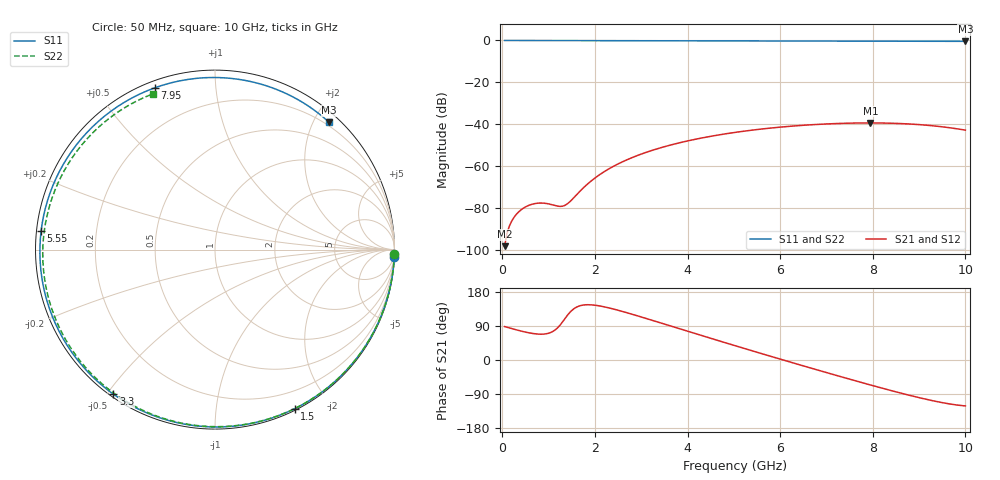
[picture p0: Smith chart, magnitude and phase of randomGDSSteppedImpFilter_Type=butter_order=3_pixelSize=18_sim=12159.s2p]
! freq	dB(S11)	phase(S11)	dB(S12)	phase(S12)
!  dB(S21)	phase(S21)	dB(S22)	phase(S22)
!S-par simulation data
#  GHz  S  DB  R 50
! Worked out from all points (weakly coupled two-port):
!   200 points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, 50 MHz to 10 GHz, reference 50 ohm
!   highest |S21| = -39.40 dB at 7.95 GHz (marker M1); lowest = -98.3 dB at 50 MHz (marker M2)
!   lowest |S11| = -0.4 dB at 10 GHz (marker M3), VSWR 40.98, Z = 7.32 + j112 ohm
!   |S11| at or under -10 dB: nowhere
!   |S22| runs from -0.6 to 0.0 dB; largest |S21 - S12| = 0
!   S11 on the Smith chart (normalised r, x): 50 MHz: 0, -51; 1.5 GHz: 0.02, -1.62; 3.3 GHz: 0.01, -0.52; 5.55 GHz: 0.01, +0.05; 7.95 GHz: 0.03, +0.69; 10 GHz: 0.15, +2.23
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0.05  -0.00 -2.2  -98.29 88.2  -98.29 88.2  -0.00 -1.4
0.45  -0.03 -19.8  -80.21 75.0  -80.21 75.0  -0.02 -12.5
0.8  -0.04 -34.8  -77.70 68.2  -77.70 68.2  -0.03 -22.1
1.3  -0.07 -55.5  -79.19 100.3  -79.19 100.3  -0.05 -35.7
1.4  -0.07 -59.5  -78.15 117.0  -78.15 117.0  -0.05 -38.3
1.5  -0.08 -63.4  -76.16 130.6  -76.16 130.6  -0.05 -41.0
1.75  -0.09 -73.0  -70.43 145.1  -70.43 145.1  -0.06 -47.6
2.05  -0.10 -84.0  -64.92 143.8  -64.92 143.8  -0.07 -55.5
2.4  -0.11 -96.3  -60.13 134.5  -60.13 134.5  -0.08 -64.5
2.8  -0.12 -109.6  -56.00 120.9  -56.00 120.9  -0.10 -74.5
3.3  -0.14 -125.1  -52.07 102.4  -52.07 102.4  -0.11 -86.8
3.4  -0.14 -128.1  -51.40 98.6  -51.40 98.6  -0.12 -89.3
4.2  -0.17 -150.8  -47.07 68.5  -47.07 68.5  -0.15 -108.2
5.05  -0.20 -173.4  -43.85 36.9  -43.85 36.9  -0.19 -127.6
5.55  -0.23 173.7  -42.44 18.6  -42.44 18.6  -0.22 -138.9
6.1  -0.25 159.7  -41.22 -1.3  -41.22 -1.3  -0.26 -151.3
6.7  -0.28 144.1  -40.24 -22.6  -40.24 -22.6  -0.30 -164.8
7.35  -0.31 126.9  -39.60 -45.4  -39.60 -45.4  -0.36 -179.8
7.95  -0.34 110.4  -39.40 -65.9  -39.40 -65.9  -0.41 165.9
8.35  -0.35 99.0  -39.52 -79.2  -39.52 -79.2  -0.45 156.0
9.2  -0.39 73.5  -40.56 -105.0  -40.56 -105.0  -0.53 133.9
10  -0.42 48.1  -42.84 -121.2  -42.84 -121.2  -0.59 111.7
